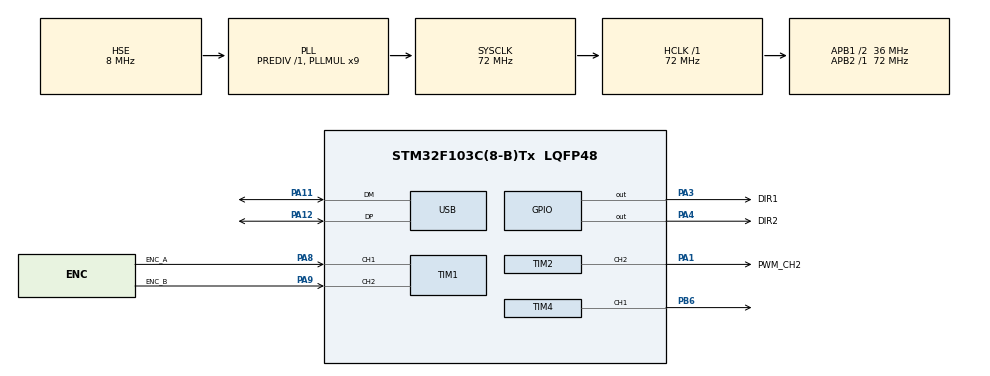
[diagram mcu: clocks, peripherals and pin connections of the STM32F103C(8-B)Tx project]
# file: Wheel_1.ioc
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Mcu.Family=STM32F1
Mcu.Name=STM32F103C(8-B)Tx
Mcu.Package=LQFP48
NVIC.PriorityGroup=NVIC_PRIORITYGROUP_4
NVIC.TIM3_IRQn=true\:2\:0\:true\:false\:true\:true\:true\:true
NVIC.USB_LP_CAN1_RX0_IRQn=true\:0\:0\:false\:false\:true\:false\:true\:true
PA1.GPIO_Label=PWM_CH2
PA1.Signal=S_TIM2_CH2
PA11.Mode=Device
PA11.Signal=USB_DM
PA12.Mode=Device
PA12.Signal=USB_DP
PA13.Mode=Serial_Wire
PA13.Signal=SYS_JTMS-SWDIO
PA14.Mode=Serial_Wire
PA14.Signal=SYS_JTCK-SWCLK
PA3.GPIO_Label=DIR1
PA3.Signal=GPIO_Output
PA4.GPIO_Label=DIR2
PA4.Signal=GPIO_Output
PA8.GPIO_Label=ENC_A
PA8.Signal=S_TIM1_CH1
PA9.GPIO_Label=ENC_B
PA9.Signal=S_TIM1_CH2
PB6.Signal=S_TIM4_CH1
PD0-OSC_IN.Mode=HSE-External-Oscillator
PD0-OSC_IN.Signal=RCC_OSC_IN
PD1-OSC_OUT.Mode=HSE-External-Oscillator
PD1-OSC_OUT.Signal=RCC_OSC_OUT
ProjectManager.HeapSize=0x200
ProjectManager.StackSize=0x400
ProjectManager.TargetToolchain=Makefile
RCC.ADCPresc=RCC_ADCPCLK2_DIV6
RCC.AHBFreq_Value=72000000
RCC.APB1CLKDivider=RCC_HCLK_DIV2
RCC.APB1Freq_Value=36000000
RCC.APB1TimFreq_Value=72000000
RCC.APB2Freq_Value=72000000
RCC.APB2TimFreq_Value=72000000
RCC.HCLKFreq_Value=72000000
RCC.PLLMUL=RCC_PLL_MUL9
RCC.PLLSourceVirtual=RCC_PLLSOURCE_HSE
RCC.SYSCLKFreq_VALUE=72000000
RCC.SYSCLKSource=RCC_SYSCLKSOURCE_PLLCLK
RCC.USBFreq_Value=48000000
RCC.USBPrescaler=RCC_USBCLKSOURCE_PLL_DIV1_5
SH.S_TIM1_CH1.0=TIM1_CH1,Encoder_Interface
SH.S_TIM1_CH2.0=TIM1_CH2,Encoder_Interface
SH.S_TIM2_CH2.0=TIM2_CH2,PWM Generation2 CH2
SH.S_TIM4_CH1.0=TIM4_CH1,PWM Generation1 CH1
TIM1.EncoderMode=TIM_ENCODERMODE_TI12
TIM1.IC1Filter=0
TIM1.IC2Filter=0
TIM2.AutoReloadPreload=TIM_AUTORELOAD_PRELOAD_ENABLE
TIM2.Channel-PWM\ Generation2\ CH2=TIM_CHANNEL_2
TIM2.Period=1000-1
TIM2.Prescaler=4-1
TIM3.Period=1000-1
TIM3.Prescaler=72-1
TIM4.Channel-PWM\ Generation1\ CH1=TIM_CHANNEL_1
TIM4.Period=1800-1
TIM4.Prescaler=800-1
USB_DEVICE.CLASS_NAME_FS=CDC
USB_DEVICE.VirtualMode=Cdc
USB_DEVICE.VirtualModeFS=Cdc_FS
VP_TIM2_VS_ClockSourceINT.Mode=Internal
VP_TIM3_VS_ClockSourceINT.Mode=Internal
VP_TIM4_VS_ClockSourceINT.Mode=Internal
VP_USB_DEVICE_VS_USB_DEVICE_CDC_FS.Mode=CDC_FS
board=custom

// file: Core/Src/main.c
/* USER CODE BEGIN Header */
/**
  ******************************************************************************
  * @file           : main.c
  * @brief          : Main program body
  ******************************************************************************
  * @attention
  *
  * Copyright (c) 2024 STMicroelectronics.
  * All rights reserved.
  *
  * This software is licensed under terms that can be found in the LICENSE file
  * in the root directory of this software component.
  * If no LICENSE file comes with this software, it is provided AS-IS.
  *
  ******************************************************************************
  */
/* USER CODE END Header */
#include "main.h"
#include "settings.h"
#include "usb_device.h"

/* USER CODE BEGIN Includes */
#include "servocontroller.h"
#include <stdio.h>
#include "string.h"
/* USER CODE END Includes */

TIM_HandleTypeDef htim1;
TIM_HandleTypeDef htim2;
TIM_HandleTypeDef htim3;
TIM_HandleTypeDef htim4;

/* USER CODE BEGIN PV */
float ANGvalue = 0;
float VELvalue = 0;
uint16_t PWM_servo = 90;
servocontrol_t servo1;

// USB
uint8_t USBDataReady = 0;
uint8_t* USBDataBuffer;
uint8_t USBDataLength = 0;
/* USER CODE END PV */

void SystemClock_Config(void);
static void MX_GPIO_Init(void);
static void MX_TIM2_Init(void);
static void MX_TIM1_Init(void);
static void MX_TIM3_Init(void);
static void MX_TIM4_Init(void);
/* USER CODE BEGIN PFP */
void USBRxHandler(uint8_t* buf, uint16_t len){

  // if(strncmp((char*)buf,"HIGH", len) == 0){
  //   HAL_GPIO_WritePin(GPIOC, GPIO_PIN_13, GPIO_PIN_RESET);
  // }
  // else if (strncmp((char*)buf, "LOW", len) == 0) {
  //   HAL_GPIO_WritePin(GPIOC, GPIO_PIN_13, GPIO_PIN_SET);   // Выключить
  //        // Отправить подтверждение
  // }
  return;
}
/* USER CODE END PFP */

int main(void)
{

  /* MCU Configuration--------------------------------------------------------*/

  /* Reset of all peripherals, Initializes the Flash interface and the Systick. */
  HAL_Init();

  /* Configure the system clock */
  SystemClock_Config();

  /* Initialize all configured peripherals */
  MX_GPIO_Init();
  MX_TIM2_Init();
  MX_TIM1_Init();
  MX_TIM3_Init();
  MX_TIM4_Init();
  MX_USB_DEVICE_Init();
  /* USER CODE BEGIN 2 */

  servo_baseInit(&servo1, Double, MOTOR_SPEED, GEAR_RATIO, REVERCE);
  servo_encoderInit(&servo1, &htim1, CPR);
  servo_driverInit(&servo1, &htim2, 2, DIR1_GPIO_Port, DIR1_Pin, DIR2_GPIO_Port, DIR2_Pin, MIN_DUTY, MAX_DUTE);
  servo_positionInit(&servo1, ANG_KP, ANG_KI, ANG_KD, ANG_DT, ANG_KT);
  servo_velocityInit(&servo1, VEL_KP, VEL_KI, VEL_KD, VEL_DT, VEL_KT);

  __HAL_TIM_CLEAR_IT(&htim1, TIM_IT_UPDATE);
  HAL_TIM_Encoder_Start(&htim1, TIM_CHANNEL_ALL);

  HAL_TIM_PWM_Start(&htim2, TIM_CHANNEL_2); // инициализация PWM
  if(SERVO_FLAG) {
    HAL_TIM_PWM_Start(&htim4, TIM_CHANNEL_1); // инициализация PWM
  }
  HAL_TIM_Base_Start_IT(&htim3);
  HAL_TIM_Base_Start_IT(&htim4);

  /* USER CODE END 2 */

  /* Infinite loop */
  while (1)
  {

    /* USER CODE BEGIN 3 */

    servo_controlVelocity(&servo1, VELvalue); // 0 - 15
    htim4.Instance->CCR1 = PWM_servo + SERVO_ADJUSTMENT;    // 0 - 180

    // servo_controlPosition(&servo1, ANGvalue);
  }
  /* USER CODE END 3 */
}

void SystemClock_Config(void)
{
  RCC_OscInitTypeDef RCC_OscInitStruct = {0};
  RCC_ClkInitTypeDef RCC_ClkInitStruct = {0};
  RCC_PeriphCLKInitTypeDef PeriphClkInit = {0};

  /** Initializes the RCC Oscillators according to the specified parameters
  * in the RCC_OscInitTypeDef structure.
  */
  RCC_OscInitStruct.OscillatorType = RCC_OSCILLATORTYPE_HSE;
  RCC_OscInitStruct.HSEState = RCC_HSE_ON;
  RCC_OscInitStruct.HSEPredivValue = RCC_HSE_PREDIV_DIV1;
  RCC_OscInitStruct.HSIState = RCC_HSI_ON;
  RCC_OscInitStruct.PLL.PLLState = RCC_PLL_ON;
  RCC_OscInitStruct.PLL.PLLSource = RCC_PLLSOURCE_HSE;
  RCC_OscInitStruct.PLL.PLLMUL = RCC_PLL_MUL9;
  if (HAL_RCC_OscConfig(&RCC_OscInitStruct) != HAL_OK)
  {
    Error_Handler();
  }

  /** Initializes the CPU, AHB and APB buses clocks
  */
  RCC_ClkInitStruct.ClockType = RCC_CLOCKTYPE_HCLK|RCC_CLOCKTYPE_SYSCLK
                              |RCC_CLOCKTYPE_PCLK1|RCC_CLOCKTYPE_PCLK2;
  RCC_ClkInitStruct.SYSCLKSource = RCC_SYSCLKSOURCE_PLLCLK;
  RCC_ClkInitStruct.AHBCLKDivider = RCC_SYSCLK_DIV1;
  RCC_ClkInitStruct.APB1CLKDivider = RCC_HCLK_DIV2;
  RCC_ClkInitStruct.APB2CLKDivider = RCC_HCLK_DIV1;

  if (HAL_RCC_ClockConfig(&RCC_ClkInitStruct, FLASH_LATENCY_2) != HAL_OK)
  {
    Error_Handler();
  }
  PeriphClkInit.PeriphClockSelection = RCC_PERIPHCLK_USB;
  PeriphClkInit.UsbClockSelection = RCC_USBCLKSOURCE_PLL_DIV1_5;
  if (HAL_RCCEx_PeriphCLKConfig(&PeriphClkInit) != HAL_OK)
  {
    Error_Handler();
  }
}

static void MX_TIM1_Init(void)
{

  TIM_Encoder_InitTypeDef sConfig = {0};
  TIM_MasterConfigTypeDef sMasterConfig = {0};

  htim1.Instance = TIM1;
  htim1.Init.Prescaler = 0;
  htim1.Init.CounterMode = TIM_COUNTERMODE_UP;
  htim1.Init.Period = 65535;
  htim1.Init.ClockDivision = TIM_CLOCKDIVISION_DIV1;
  htim1.Init.RepetitionCounter = 0;
  htim1.Init.AutoReloadPreload = TIM_AUTORELOAD_PRELOAD_DISABLE;
  sConfig.EncoderMode = TIM_ENCODERMODE_TI12;
  sConfig.IC1Polarity = TIM_ICPOLARITY_RISING;
  sConfig.IC1Selection = TIM_ICSELECTION_DIRECTTI;
  sConfig.IC1Prescaler = TIM_ICPSC_DIV1;
  sConfig.IC1Filter = 0;
  sConfig.IC2Polarity = TIM_ICPOLARITY_RISING;
  sConfig.IC2Selection = TIM_ICSELECTION_DIRECTTI;
  sConfig.IC2Prescaler = TIM_ICPSC_DIV1;
  sConfig.IC2Filter = 0;
  if (HAL_TIM_Encoder_Init(&htim1, &sConfig) != HAL_OK)
  {
    Error_Handler();
  }
  sMasterConfig.MasterOutputTrigger = TIM_TRGO_RESET;
  sMasterConfig.MasterSlaveMode = TIM_MASTERSLAVEMODE_DISABLE;
  if (HAL_TIMEx_MasterConfigSynchronization(&htim1, &sMasterConfig) != HAL_OK)
  {
    Error_Handler();
  }

}

static void MX_TIM2_Init(void)
{

  TIM_ClockConfigTypeDef sClockSourceConfig = {0};
  TIM_MasterConfigTypeDef sMasterConfig = {0};
  TIM_OC_InitTypeDef sConfigOC = {0};

  htim2.Instance = TIM2;
  htim2.Init.Prescaler = 4-1;
  htim2.Init.CounterMode = TIM_COUNTERMODE_UP;
  htim2.Init.Period = 1000-1;
  htim2.Init.ClockDivision = TIM_CLOCKDIVISION_DIV1;
  htim2.Init.AutoReloadPreload = TIM_AUTORELOAD_PRELOAD_ENABLE;
  if (HAL_TIM_Base_Init(&htim2) != HAL_OK)
  {
    Error_Handler();
  }
  sClockSourceConfig.ClockSource = TIM_CLOCKSOURCE_INTERNAL;
  if (HAL_TIM_ConfigClockSource(&htim2, &sClockSourceConfig) != HAL_OK)
  {
    Error_Handler();
  }
  if (HAL_TIM_PWM_Init(&htim2) != HAL_OK)
  {
    Error_Handler();
  }
  sMasterConfig.MasterOutputTrigger = TIM_TRGO_RESET;
  sMasterConfig.MasterSlaveMode = TIM_MASTERSLAVEMODE_DISABLE;
  if (HAL_TIMEx_MasterConfigSynchronization(&htim2, &sMasterConfig) != HAL_OK)
  {
    Error_Handler();
  }
  sConfigOC.OCMode = TIM_OCMODE_PWM1;
  sConfigOC.Pulse = 0;
  sConfigOC.OCPolarity = TIM_OCPOLARITY_HIGH;
  sConfigOC.OCFastMode = TIM_OCFAST_DISABLE;
  if (HAL_TIM_PWM_ConfigChannel(&htim2, &sConfigOC, TIM_CHANNEL_2) != HAL_OK)
  {
    Error_Handler();
  }
  HAL_TIM_MspPostInit(&htim2);

}

static void MX_TIM3_Init(void)
{

  TIM_ClockConfigTypeDef sClockSourceConfig = {0};
  TIM_MasterConfigTypeDef sMasterConfig = {0};

  htim3.Instance = TIM3;
  htim3.Init.Prescaler = 72-1;
  htim3.Init.CounterMode = TIM_COUNTERMODE_UP;
  htim3.Init.Period = 1000-1;
  htim3.Init.ClockDivision = TIM_CLOCKDIVISION_DIV1;
  htim3.Init.AutoReloadPreload = TIM_AUTORELOAD_PRELOAD_DISABLE;
  if (HAL_TIM_Base_Init(&htim3) != HAL_OK)
  {
    Error_Handler();
  }
  sClockSourceConfig.ClockSource = TIM_CLOCKSOURCE_INTERNAL;
  if (HAL_TIM_ConfigClockSource(&htim3, &sClockSourceConfig) != HAL_OK)
  {
    Error_Handler();
  }
  sMasterConfig.MasterOutputTrigger = TIM_TRGO_RESET;
  sMasterConfig.MasterSlaveMode = TIM_MASTERSLAVEMODE_DISABLE;
  if (HAL_TIMEx_MasterConfigSynchronization(&htim3, &sMasterConfig) != HAL_OK)
  {
    Error_Handler();
  }

}

static void MX_TIM4_Init(void)
{

  TIM_ClockConfigTypeDef sClockSourceConfig = {0};
  TIM_MasterConfigTypeDef sMasterConfig = {0};
  TIM_OC_InitTypeDef sConfigOC = {0};

  htim4.Instance = TIM4;
  htim4.Init.Prescaler = 800-1;
  htim4.Init.CounterMode = TIM_COUNTERMODE_UP;
  htim4.Init.Period = 1800-1;
  htim4.Init.ClockDivision = TIM_CLOCKDIVISION_DIV1;
  htim4.Init.AutoReloadPreload = TIM_AUTORELOAD_PRELOAD_DISABLE;
  if (HAL_TIM_Base_Init(&htim4) != HAL_OK)
  {
    Error_Handler();
  }
  sClockSourceConfig.ClockSource = TIM_CLOCKSOURCE_INTERNAL;
  if (HAL_TIM_ConfigClockSource(&htim4, &sClockSourceConfig) != HAL_OK)
  {
    Error_Handler();
  }
  if (HAL_TIM_PWM_Init(&htim4) != HAL_OK)
  {
    Error_Handler();
  }
  sMasterConfig.MasterOutputTrigger = TIM_TRGO_RESET;
  sMasterConfig.MasterSlaveMode = TIM_MASTERSLAVEMODE_DISABLE;
  if (HAL_TIMEx_MasterConfigSynchronization(&htim4, &sMasterConfig) != HAL_OK)
  {
    Error_Handler();
  }
  sConfigOC.OCMode = TIM_OCMODE_PWM1;
  sConfigOC.Pulse = 0;
  sConfigOC.OCPolarity = TIM_OCPOLARITY_HIGH;
  sConfigOC.OCFastMode = TIM_OCFAST_DISABLE;
  if (HAL_TIM_PWM_ConfigChannel(&htim4, &sConfigOC, TIM_CHANNEL_1) != HAL_OK)
  {
    Error_Handler();
  }
  HAL_TIM_MspPostInit(&htim4);

}

static void MX_GPIO_Init(void)
{
  GPIO_InitTypeDef GPIO_InitStruct = {0};

  /* GPIO Ports Clock Enable */
  __HAL_RCC_GPIOD_CLK_ENABLE();
  __HAL_RCC_GPIOA_CLK_ENABLE();
  __HAL_RCC_GPIOB_CLK_ENABLE();

  /*Configure GPIO pin Output Level */
  HAL_GPIO_WritePin(GPIOA, DIR1_Pin|DIR2_Pin, GPIO_PIN_RESET);

  /*Configure GPIO pins : DIR1_Pin DIR2_Pin */
  GPIO_InitStruct.Pin = DIR1_Pin|DIR2_Pin;
  GPIO_InitStruct.Mode = GPIO_MODE_OUTPUT_PP;
  GPIO_InitStruct.Pull = GPIO_NOPULL;
  GPIO_InitStruct.Speed = GPIO_SPEED_FREQ_LOW;
  HAL_GPIO_Init(GPIOA, &GPIO_InitStruct);

}

void Error_Handler(void)
{
  __disable_irq();
  while (1)
  {
  }
}
